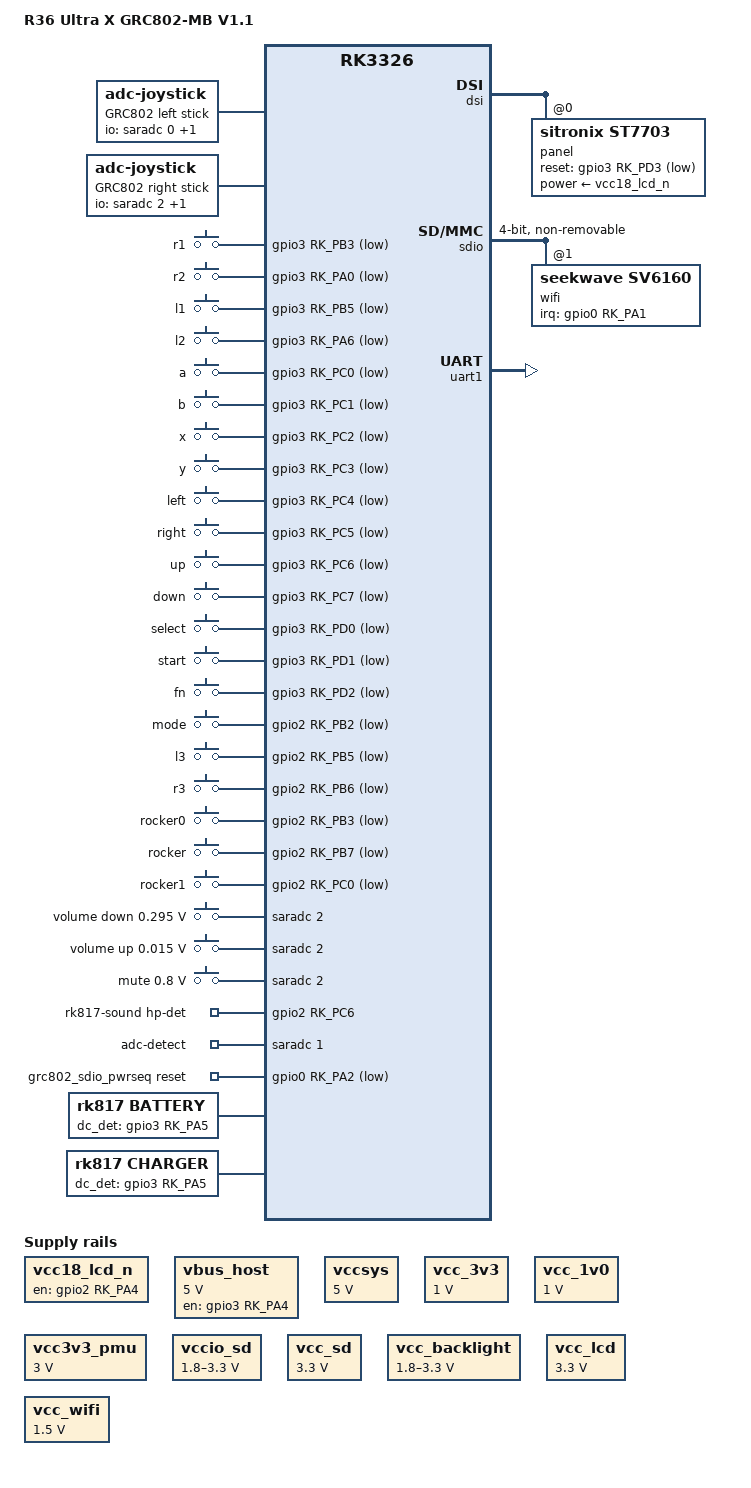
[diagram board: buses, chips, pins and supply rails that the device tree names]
// SPDX-License-Identifier: (GPL-2.0+ OR MIT)
/* GRC802-MB V1.1, R36 Ultra X. Pins and panel data from stock EmuELEC. */
/dts-v1/;
#include "rk3326-r36s-android.dtsi"

/delete-node/ &joypad;
/delete-node/ &gpio_keys;
/delete-node/ &leds;
/delete-node/ &{/rk817-sound};

/ {
	model = "R36 Ultra X GRC802-MB V1.1";
	compatible = "grc802,r36-ultra-x", "rockchip,rk3326";

	firmware {
		android {
			compatible = "android,firmware";
			lcd_density = "304";
		};
	};

	left-stick {
		compatible = "adc-joystick";
		label = "GRC802 left stick";
		io-channels = <&saradc 0>, <&saradc 1>;
		io-channel-names = "joy_x", "joy_y";
		poll-interval = <30>;
	};

	right-stick {
		compatible = "adc-joystick";
		label = "GRC802 right stick";
		io-channels = <&saradc 2>, <&saradc 3>;
		io-channel-names = "joy_x", "joy_y";
		linux,abs-codes = <ABS_RX ABS_RY>;
		poll-interval = <30>;
	};

	gamepad-keys {
		compatible = "gpio-keys";
		label = "GO-Super Gamepad";
		pinctrl-names = "default";
		pinctrl-0 = <&grc802_button_pins>;
		r1 {
			label = "r1";
			linux,code = <311>;
			gpios = <&gpio3 RK_PB3 GPIO_ACTIVE_LOW>;
			debounce-interval = <10>;
		};
		r2 {
			label = "r2";
			linux,code = <313>;
			gpios = <&gpio3 RK_PA0 GPIO_ACTIVE_LOW>;
			debounce-interval = <10>;
		};
		l1 {
			label = "l1";
			linux,code = <310>;
			gpios = <&gpio3 RK_PB5 GPIO_ACTIVE_LOW>;
			debounce-interval = <10>;
		};
		l2 {
			label = "l2";
			linux,code = <312>;
			gpios = <&gpio3 RK_PA6 GPIO_ACTIVE_LOW>;
			debounce-interval = <10>;
		};
		a {
			label = "a";
			linux,code = <304>;
			gpios = <&gpio3 RK_PC0 GPIO_ACTIVE_LOW>;
			debounce-interval = <10>;
		};
		b {
			label = "b";
			linux,code = <305>;
			gpios = <&gpio3 RK_PC1 GPIO_ACTIVE_LOW>;
			debounce-interval = <10>;
		};
		x {
			label = "x";
			linux,code = <307>;
			gpios = <&gpio3 RK_PC2 GPIO_ACTIVE_LOW>;
			debounce-interval = <10>;
		};
		y {
			label = "y";
			linux,code = <308>;
			gpios = <&gpio3 RK_PC3 GPIO_ACTIVE_LOW>;
			debounce-interval = <10>;
		};
		left {
			label = "left";
			linux,code = <105>;
			gpios = <&gpio3 RK_PC4 GPIO_ACTIVE_LOW>;
			debounce-interval = <10>;
		};
		right {
			label = "right";
			linux,code = <106>;
			gpios = <&gpio3 RK_PC5 GPIO_ACTIVE_LOW>;
			debounce-interval = <10>;
		};
		up {
			label = "up";
			linux,code = <103>;
			gpios = <&gpio3 RK_PC6 GPIO_ACTIVE_LOW>;
			debounce-interval = <10>;
		};
		down {
			label = "down";
			linux,code = <108>;
			gpios = <&gpio3 RK_PC7 GPIO_ACTIVE_LOW>;
			debounce-interval = <10>;
		};
		select {
			label = "select";
			linux,code = <314>;
			gpios = <&gpio3 RK_PD0 GPIO_ACTIVE_LOW>;
			debounce-interval = <10>;
		};
		start {
			label = "start";
			linux,code = <315>;
			gpios = <&gpio3 RK_PD1 GPIO_ACTIVE_LOW>;
			debounce-interval = <10>;
		};
		fn {
			label = "fn";
			linux,code = <172>;
			gpios = <&gpio3 RK_PD2 GPIO_ACTIVE_LOW>;
			debounce-interval = <10>;
		};
		mode {
			label = "mode";
			linux,code = <316>;
			gpios = <&gpio2 RK_PB2 GPIO_ACTIVE_LOW>;
			debounce-interval = <10>;
		};
		l3 {
			label = "l3";
			linux,code = <158>;
			gpios = <&gpio2 RK_PB5 GPIO_ACTIVE_LOW>;
			debounce-interval = <10>;
		};
		r3 {
			label = "r3";
			linux,code = <125>;
			gpios = <&gpio2 RK_PB6 GPIO_ACTIVE_LOW>;
			debounce-interval = <10>;
		};
		rocker0 {
			label = "rocker0";
			linux,code = <158>;
			gpios = <&gpio2 RK_PB3 GPIO_ACTIVE_LOW>;
			debounce-interval = <10>;
		};
		rocker {
			label = "rocker";
			linux,code = <172>;
			gpios = <&gpio2 RK_PB7 GPIO_ACTIVE_LOW>;
			debounce-interval = <10>;
		};
		rocker1 {
			label = "rocker1";
			linux,code = <125>;
			gpios = <&gpio2 RK_PC0 GPIO_ACTIVE_LOW>;
			debounce-interval = <10>;
		};
	};

	/* Stock volume ladder shares ADC2 with right X. Preserve the stock layout. */
	adc-keys {
		compatible = "adc-keys";
		io-channels = <&saradc 2>;
		io-channel-names = "buttons";
		poll-interval = <100>;
		keyup-threshold-microvolt = <1800000>;
		vol-down { label = "volume down"; linux,code = <KEY_VOLUMEDOWN>; press-threshold-microvolt = <295000>; };
		vol-up { label = "volume up"; linux,code = <KEY_VOLUMEUP>; press-threshold-microvolt = <15000>; };
		mute { label = "mute"; linux,code = <KEY_MUTE>; press-threshold-microvolt = <800000>; };
	};

	vcc18_lcd_n: vcc18-lcd-n {
		compatible = "regulator-fixed";
		regulator-name = "vcc18_lcd_n";
		regulator-boot-on;
		gpio = <&gpio2 RK_PA4 GPIO_ACTIVE_HIGH>;
		enable-active-high;
		regulator-state-mem { regulator-off-in-suspend; };
	};

	vbus_host: vbus-host-regulator {
		compatible = "regulator-fixed";
		regulator-name = "vbus_host";
		regulator-boot-on;
		regulator-always-on;
		gpio = <&gpio3 RK_PA4 GPIO_ACTIVE_HIGH>;
		enable-active-high;
		regulator-min-microvolt = <5000000>;
		regulator-max-microvolt = <5000000>;
	};

	rk817-sound {
		compatible = "rockchip,multicodecs-card";
		rockchip,card-name = "rockchip-rk817";
		hp-det-gpio = <&gpio2 RK_PC6 GPIO_ACTIVE_HIGH>;
		io-channels = <&saradc 1>;
		io-channel-names = "adc-detect";
		keyup-threshold-microvolt = <1800000>;
		poll-interval = <100>;
		rockchip,format = "i2s";
		rockchip,mclk-fs = <256>;
		rockchip,cpu = <&i2s1_2ch>;
		rockchip,codec = <&rk817_codec>;
		rockchip,codec-hp-det;
		pinctrl-names = "default";
		pinctrl-0 = <&grc802_hp_det>;
		play-pause-key { label = "playpause"; linux,code = <KEY_PLAYPAUSE>; press-threshold-microvolt = <2000>; };
	};
};

&pinctrl {
	grc802 {
		grc802_button_pins: button-pins {
			rockchip,pins =
				<3 RK_PB3 RK_FUNC_GPIO &pcfg_pull_up>,
				<3 RK_PA0 RK_FUNC_GPIO &pcfg_pull_up>,
				<3 RK_PB5 RK_FUNC_GPIO &pcfg_pull_up>,
				<3 RK_PA6 RK_FUNC_GPIO &pcfg_pull_up>,
				<3 RK_PC0 RK_FUNC_GPIO &pcfg_pull_up>,
				<3 RK_PC1 RK_FUNC_GPIO &pcfg_pull_up>,
				<3 RK_PC2 RK_FUNC_GPIO &pcfg_pull_up>,
				<3 RK_PC3 RK_FUNC_GPIO &pcfg_pull_up>,
				<3 RK_PC4 RK_FUNC_GPIO &pcfg_pull_up>,
				<3 RK_PC5 RK_FUNC_GPIO &pcfg_pull_up>,
				<3 RK_PC6 RK_FUNC_GPIO &pcfg_pull_up>,
				<3 RK_PC7 RK_FUNC_GPIO &pcfg_pull_up>,
				<3 RK_PD0 RK_FUNC_GPIO &pcfg_pull_up>,
				<3 RK_PD1 RK_FUNC_GPIO &pcfg_pull_up>,
				<3 RK_PD2 RK_FUNC_GPIO &pcfg_pull_up>,
				<2 RK_PB2 RK_FUNC_GPIO &pcfg_pull_up>,
				<2 RK_PB5 RK_FUNC_GPIO &pcfg_pull_up>,
				<2 RK_PB6 RK_FUNC_GPIO &pcfg_pull_up>,
				<2 RK_PB3 RK_FUNC_GPIO &pcfg_pull_up>,
				<2 RK_PB7 RK_FUNC_GPIO &pcfg_pull_up>,
				<2 RK_PC0 RK_FUNC_GPIO &pcfg_pull_up>;
		};
		grc802_hp_det: hp-det { rockchip,pins = <2 RK_PC6 RK_FUNC_GPIO &pcfg_pull_up>; };
	};
};

&backlight { pwms = <&pwm1 0 25000 0>; default-brightness-level = <200>; };
&status_led { status = "disabled"; };
&pwm0 { status = "disabled"; };

&dsi {
	panel@0 {
		compatible = "sitronix,st7703", "simple-panel-dsi";
		power-supply = <&vcc18_lcd_n>;
		reset-gpios = <&gpio3 RK_PD3 GPIO_ACTIVE_LOW>;
		prepare-delay-ms = <20>;
		reset-delay-ms = <20>;
		init-delay-ms = <20>;
		enable-delay-ms = <120>;
		disable-delay-ms = <20>;
		unprepare-delay-ms = <20>;
		width-mm = <153>;
		height-mm = <85>;
		dsi,flags = <0xa03>;
		dsi,format = <0>;
		dsi,lanes = <4>;
		panel-init-sequence = [
			15 00 02 ee 01 15 00 02 ea 07 15 00 02 eb 12 15 00 02 0a 5e
			15 00 02 13 14 15 00 02 17 35 15 00 02 1d 33 15 00 02 21 01
			15 00 02 28 28 15 00 02 29 18 15 00 02 2a 63 15 00 02 2f f3
			15 00 02 ee 02 15 00 02 39 a9 15 00 02 00 00 15 00 02 01 0d
			15 00 02 02 12 15 00 02 03 08 15 00 02 04 0e 15 00 02 05 30
			15 00 02 06 0b 15 00 02 07 0e 15 00 02 08 0f 15 00 02 09 0e
			15 00 02 0a 11 15 00 02 0b 4e 15 00 02 0c 14 15 00 02 0d 1a
			15 00 02 0e 2f 15 00 02 0f 36 15 00 02 10 3f 15 00 02 20 00
			15 00 02 21 0d 15 00 02 22 12 15 00 02 23 08 15 00 02 24 0e
			15 00 02 25 30 15 00 02 26 0b 15 00 02 27 0e 15 00 02 28 0f
			15 00 02 29 0e 15 00 02 2a 11 15 00 02 2b 4e 15 00 02 2c 14
			15 00 02 2d 1a 15 00 02 2e 2f 15 00 02 2f 36 15 00 02 30 3f
			15 00 02 ee 04 15 00 02 00 05 15 00 02 01 01 15 00 02 02 80
			15 00 02 03 04 15 00 02 04 00 15 00 02 06 06 15 00 02 07 05
			15 00 02 08 1a 15 00 02 09 20 15 00 02 0a 0e 15 00 02 0b 00
			15 00 02 20 40 15 00 02 24 08 15 00 02 ee 05 15 00 02 00 01
			15 00 02 01 09 15 00 02 02 05 15 00 02 03 05 15 00 02 07 05
			15 00 02 08 0d 15 00 02 09 00 15 00 02 0a 12 15 00 02 0b 14
			15 00 02 0c 66 15 00 02 10 03 15 00 02 11 07 15 00 02 12 05
			15 00 02 13 05 15 00 02 19 12 15 00 02 1a f6 15 00 02 40 55
			15 00 02 41 00 15 00 02 43 03 15 00 02 44 01 15 00 02 45 81
			15 00 02 46 06 15 00 02 47 00 15 00 02 ee 06 15 00 02 00 45
			15 00 02 02 01 15 00 02 04 88 15 00 02 06 cd 15 00 02 08 ef
			15 00 02 09 cd 15 00 02 0a ab 15 00 02 0b 89 15 00 02 0c 67
			15 00 02 0d 45 15 00 02 0e 23 15 00 02 0f 01 15 00 02 ee 07
			15 00 02 00 3c 15 00 02 01 3c 15 00 02 02 3c 15 00 02 03 3c
			15 00 02 04 0d 15 00 02 05 3c 15 00 02 06 3c 15 00 02 07 3c
			15 00 02 08 08 15 00 02 09 10 15 00 02 0a 12 15 00 02 0b 14
			15 00 02 0c 16 15 00 02 0d 18 15 00 02 0e 1a 15 00 02 0f 1c
			15 00 02 10 1e 15 00 02 11 04 15 00 02 12 00 15 00 02 13 3c
			15 00 02 14 0c 15 00 02 15 3c 15 00 02 20 3c 15 00 02 21 3c
			15 00 02 22 3c 15 00 02 23 3c 15 00 02 24 0d 15 00 02 25 3c
			15 00 02 26 3c 15 00 02 27 3c 15 00 02 28 08 15 00 02 29 11
			15 00 02 2a 13 15 00 02 2b 15 15 00 02 2c 17 15 00 02 2d 19
			15 00 02 2e 1b 15 00 02 2f 1d 15 00 02 30 1f 15 00 02 31 05
			15 00 02 32 01 15 00 02 33 3c 15 00 02 34 0c 15 00 02 35 3c
			15 00 02 ee 08 15 00 02 10 00 15 00 02 12 dc 15 00 02 13 1c
			15 00 02 17 23 15 00 02 18 20 15 00 02 20 80 15 00 02 ee 0f
			15 00 02 00 01 15 00 02 01 00 15 00 02 ee 00 15 00 02 ea 00
			15 00 02 eb 00 15 00 02 36 00 05 c8 01 11 05 14 01 29
		];
		panel-exit-sequence = [05 00 01 28 05 00 01 10];
	};
};

&timing0 {
	clock-frequency = <62000000>;
	hactive = <1024>;
	vactive = <768>;
	hfront-porch = <90>;
	hsync-len = <80>;
	hback-porch = <80>;
	vfront-porch = <16>;
	vsync-len = <8>;
	vback-porch = <8>;
	hsync-active = <0>;
	vsync-active = <0>;
	de-active = <0>;
	pixelclk-active = <0>;
};

/* The base already routes DSI through VOPB, as on R46H. */
&dmc_opp_table { opp-786000000 { status = "disabled"; }; };
&uart2 { status = "disabled"; };
&{/fiq-debugger} { rockchip,serial-id = <5>; pinctrl-0 = <&uart5_xfer>; };
&sdio { status = "disabled"; };
&{/wireless-wlan} { status = "disabled"; };
&u2phy_host { phy-supply = <&vbus_host>; };

&rk817 {
	battery {
				compatible = "rk817,battery";
				ocv_table = <0xdac 0xdc5 0xdea 0xe07 0xe20 0xe33 0xe45 0xe58 0xe6f 0xe8d 0xeb1 0xedd 0xf0a 0xf35 0xf60 0xf89 0xfb1 0xfd4 0xff6 0x101d 0x1053>;
				design_capacity = <0xe03>;
				design_qmax = <0x1013>;
				bat_res = <0x6d>;
				design_max_voltage = <0x1018>;
				sleep_enter_current = <0x12c>;
				sleep_exit_current = <0x12c>;
				sleep_filter_current = <0x64>;
				power_off_thresd = <0xdac>;
				zero_algorithm_vol = <0xf0a>;
				max_soc_offset = <0x3c>;
				monitor_sec = <0x5>;
				sample_res = <0xa>;
				virtual_power = <0x0>;
				dc_det_gpio = <&gpio3 RK_PA5 GPIO_ACTIVE_HIGH>;
			};
	charger {
		/delete-property/ bat_low_gpio;
				compatible = "rk817,charger";
				min_input_voltage = <0x1194>;
				max_input_current = <0x640>;
				max_chrg_current = <0x640>;
				max_chrg_voltage = <0x10fe>;
				chrg_term_mode = <0x0>;
				chrg_finish_cur = <0x12c>;
				virtual_power = <0x0>;
				dc_det_gpio = <&gpio3 RK_PA5 GPIO_ACTIVE_HIGH>;
				dc_det_adc = <0x0>;
				extcon = <&u2phy>;
			};
};
&rk817_codec {
	spk-ctl-gpios = <&gpio3 RK_PA7 GPIO_ACTIVE_HIGH>;
	spk-mute-delay-ms = <500>;
	use-ext-amplifier;
	hp-volume = <15>;
	spk-volume = <15>;
};
&pmic_int { rockchip,pins = <0 RK_PB2 RK_FUNC_GPIO &pcfg_pull_up>; };
&vccsys { regulator-name = "vcc5v0_sys"; regulator-boot-on; regulator-min-microvolt = <5000000>; regulator-max-microvolt = <5000000>; };

&vcc_3v3 {
					regulator-always-on;
					regulator-boot-on;
					regulator-min-microvolt = <0xf4240>;
					regulator-max-microvolt = <0xf4240>;
					regulator-name = "vcc_1v0";

					regulator-state-mem {
						regulator-on-in-suspend;
						regulator-suspend-microvolt = <0xf4240>;
					};
				};

&vcc_1v0 {
					regulator-always-on;
					regulator-boot-on;
					regulator-min-microvolt = <0xf4240>;
					regulator-max-microvolt = <0xf4240>;
					regulator-name = "vcc1v0_soc";

					regulator-state-mem {
						regulator-on-in-suspend;
						regulator-suspend-microvolt = <0xf4240>;
					};
				};

&vcc3v3_pmu {
					regulator-always-on;
					regulator-boot-on;
					regulator-min-microvolt = <0x2dc6c0>;
					regulator-max-microvolt = <0x2dc6c0>;
					regulator-name = "vcc3v0_pmu";

					regulator-state-mem {
						regulator-on-in-suspend;
						regulator-suspend-microvolt = <0x2dc6c0>;
					};
				};

&vccio_sd {
					regulator-always-on;
					regulator-boot-on;
					regulator-min-microvolt = <0x1b7740>;
					regulator-max-microvolt = <0x325aa0>;
					regulator-name = "vccio_sd";

					regulator-state-mem {
						regulator-on-in-suspend;
						regulator-suspend-microvolt = <0x325aa0>;
					};
				};

&vcc_sd {
					regulator-min-microvolt = <0x325aa0>;
					regulator-max-microvolt = <0x325aa0>;
					regulator-name = "vcc_sd";

					regulator-state-mem {
						regulator-on-in-suspend;
						regulator-suspend-microvolt = <0x325aa0>;
					};
				};

&vcc_backlight {
					regulator-always-on;
					regulator-boot-on;
					regulator-min-microvolt = <0x1b7740>;
					regulator-max-microvolt = <0x325aa0>;
					regulator-name = "vcc2v8_dvp";

					regulator-state-mem {
						regulator-on-in-suspend;
						regulator-suspend-microvolt = <0x325aa0>;
					};
				};

&vcc_lcd {
					regulator-always-on;
					regulator-boot-on;
					regulator-min-microvolt = <0x325aa0>;
					regulator-max-microvolt = <0x325aa0>;
					regulator-name = "vcc1v8_dvp";

					regulator-state-mem {
						regulator-on-in-suspend;
						regulator-suspend-microvolt = <0x325aa0>;
					};
				};

&vcc_wifi {
					regulator-always-on;
					regulator-boot-on;
					regulator-min-microvolt = <0x16e360>;
					regulator-max-microvolt = <0x16e360>;
					regulator-name = "vdd1v5_dvp";

					regulator-state-mem {
						regulator-off-in-suspend;
						regulator-suspend-microvolt = <0x16e360>;
					};
				};

&io_domains {
	vccio1-supply = <&vcc_backlight>;
	vccio2-supply = <&vccio_sd>;
	vccio3-supply = <&vcc1v8_soc>;
	vccio4-supply = <&vcc_3v3>;
	vccio5-supply = <&vcc_3v3>;
	/delete-property/ vccio6-supply;
};

/* Phase 2: stock radio wiring. This does not establish working Wi-Fi or BT. */
/ {
	grc802_sdio_pwrseq: sdio-pwrseq {
		compatible = "mmc-pwrseq-simple";
		/* Stock WIFI,poweren_gpio is active high on GPIO0_A2. */
		reset-gpios = <&gpio0 RK_PA2 GPIO_ACTIVE_LOW>;
		post-power-on-delay-ms = <200>;
	};

	wireless-bluetooth {
		compatible = "bluetooth-platdata";
		clock-names = "ext_clock";
		uart_rts_gpios = <&gpio1 RK_PC3 GPIO_ACTIVE_LOW>;
		pinctrl-names = "default", "rts_gpio";
		pinctrl-0 = <&uart1_rts>;
		pinctrl-1 = <&uart1_rts_gpio>;
		BT,reset_gpio = <&gpio0 RK_PA0 GPIO_ACTIVE_HIGH>;
		BT,wake_gpio = <&gpio0 RK_PA1 GPIO_ACTIVE_HIGH>;
		BT,wake_host_irq = <&gpio0 RK_PA7 GPIO_ACTIVE_HIGH>;
		/* Disabled in stock. No compatible Seekwave BT transport is ported. */
		status = "disabled";
	};

	/* Stock's alternate boot binding is disabled and uses A5 for host wake. */
	seekwcn_boot {
		compatible = "seekwave,sv6160";
		dma_type = <1>;
		gpio_host_wake = <&gpio0 RK_PA5 GPIO_ACTIVE_LOW>;
		gpio_chip_wake = <&gpio0 RK_PA1 GPIO_ACTIVE_HIGH>;
		gpio_chip_en = <&gpio0 RK_PA2 GPIO_ACTIVE_HIGH>;
		status = "disabled";
	};
};

&{/wireless-wlan} {
	wifi_chip_type = "rk915";
	WIFI,poweren_gpio = <&gpio0 RK_PA2 GPIO_ACTIVE_HIGH>;
	WIFI,host_wake_irq = <&gpio0 RK_PA1 GPIO_ACTIVE_HIGH>;
	/* mmc-pwrseq owns power; do not let rfkill-rk request the same GPIO. */
	status = "disabled";
};

&sdio {
	/delete-property/ andr36oid,second-card-slot;
	/delete-property/ cd-gpios;
	/delete-property/ supports-sd;
	/delete-property/ cap-mmc-highspeed;
	/delete-property/ card-detect-delay;
	/delete-property/ vmmc-supply;
	/delete-property/ vqmmc-supply;
	#address-cells = <1>;
	#size-cells = <0>;
	bus-width = <4>;
	max-frequency = <50000000>;
	cap-sd-highspeed;
	cap-sdio-irq;
	supports-sdio;
	supports-rk912;
	keep-power-in-suspend;
	non-removable;
	mmc-pwrseq = <&grc802_sdio_pwrseq>;
	pinctrl-names = "default";
	pinctrl-0 = <&sdio_bus4 &sdio_cmd &sdio_clk>;
	status = "okay";

	wifi@1 {
		compatible = "seekwave,sv6160";
		reg = <1>;
		interrupt-parent = <&gpio0>;
		/* Use the enabled stock WLAN binding, not the XF40H overlay's A5. */
		interrupts = <RK_PA1 IRQ_TYPE_LEVEL_HIGH>;
		interrupt-names = "host-wake";
	};
};

/* Stock enables UART1 with CTS, leaving RTS to bluetooth-platdata. */
&uart1 {
	pinctrl-names = "default";
	pinctrl-0 = <&uart1_xfer &uart1_cts>;
	status = "okay";
};
